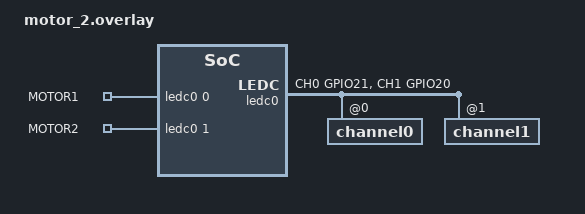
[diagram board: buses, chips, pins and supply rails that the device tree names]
/* RiskyBird ESP32-C6 target configuration. */
/*
 * SPDX-License-Identifier: Apache-2.0
 *
 * Overlay for 2 motor PWMs on ESP32C6 (custom PCB).
 * MOTOR1 is GPIO21 and MOTOR2 is GPIO20 on the routed RiskyBird PCB.
 * 20 kHz PWM (same as working single-motor setup).
 */

#include <zephyr/dt-bindings/pwm/pwm.h>

/ {
	aliases {
		pwm-0 = &ledc0;
		pwm-motor0 = &pwm_motor0;
		pwm-motor1 = &pwm_motor1;
	};

	pwmleds {
		compatible = "pwm-leds";

		pwm_motor0: pwm_motor_gpio21 {
			label = "MOTOR1";
			pwms = <&ledc0 0 20000 PWM_POLARITY_NORMAL>;
		};

		pwm_motor1: pwm_motor_gpio20 {
			label = "MOTOR2";
			pwms = <&ledc0 1 20000 PWM_POLARITY_NORMAL>;
		};
	};
};

&pinctrl {
	ledc0_default: ledc0_default {
		group1 {
			pinmux = <LEDC_CH0_GPIO21>,
				 <LEDC_CH1_GPIO20>;
			output-enable;
		};
	};
};

&ledc0 {
	pinctrl-0 = <&ledc0_default>;
	pinctrl-names = "default";
	status = "okay";
	#address-cells = <1>;
	#size-cells = <0>;

	channel0@0 {
		reg = <0x0>;
		timer = <0>;
	};

	channel1@1 {
		reg = <0x1>;
		timer = <0>;
	};
};
